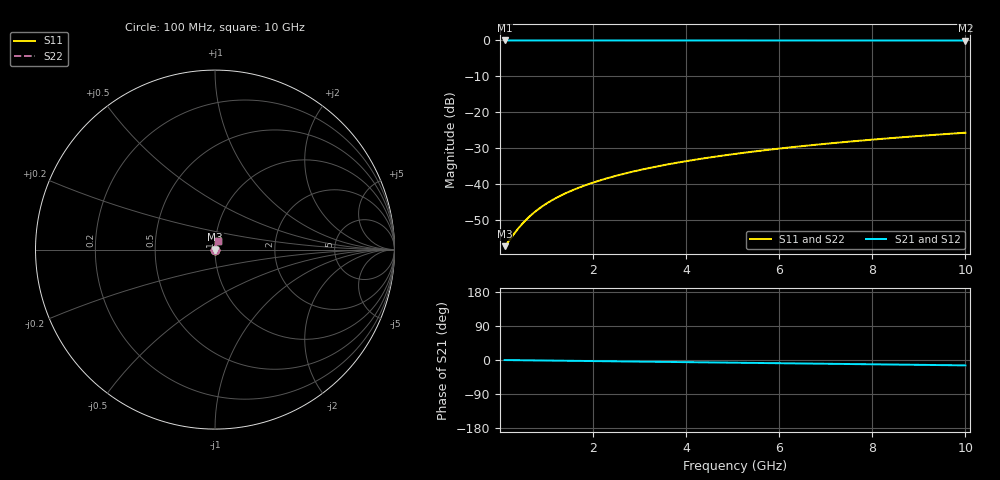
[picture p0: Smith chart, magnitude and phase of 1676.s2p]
# Hz S RI R 50.00
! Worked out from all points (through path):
!   100 points, 100 MHz to 10 GHz, reference 50 ohm
!   highest |S21| = -0.01 dB at 100 MHz (marker M1); lowest = 0.0 dB at 10 GHz (marker M2)
!   group delay of S21, straight-line fit = 3.94 ps
!   lowest |S11| = -57.2 dB at 100 MHz (marker M3), VSWR 1.00, Z = 50.1 + j0.0523 ohm
!   |S11| at or under -10 dB: start of sweep to end of sweep
!   |S22| runs from -57.2 to -25.6 dB; largest |S21 - S12| = 0
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1e8  0.00128 0.000522  0.9987 -0.00246  0.9987 -0.00246  0.00128 0.000522
2e8  0.00129 0.00104  0.9987 -0.00492  0.9987 -0.00492  0.00129 0.00104
4e8  0.00132 0.00209  0.9986 -0.00983  0.9986 -0.00983  0.00132 0.00209
5e8  0.00133 0.00261  0.9986 -0.0123  0.9986 -0.0123  0.00133 0.00261
6e8  0.00135 0.00313  0.9986 -0.0147  0.9986 -0.0147  0.00135 0.00313
7e8  0.00137 0.00365  0.9985 -0.0172  0.9985 -0.0172  0.00137 0.00365
8e8  0.00139 0.00417  0.9985 -0.0197  0.9985 -0.0197  0.00139 0.00417
1e9  0.00144 0.00521  0.9984 -0.0246  0.9984 -0.0246  0.00144 0.00521
1.2e9  0.0015 0.00625  0.9982 -0.0295  0.9982 -0.0295  0.0015 0.00625
1.5e9  0.00161 0.00781  0.9979 -0.0369  0.9979 -0.0369  0.00161 0.00781
1.8e9  0.00174 0.00937  0.9976 -0.0442  0.9976 -0.0442  0.00174 0.00937
2.1e9  0.00189 0.0109  0.9972 -0.0516  0.9972 -0.0516  0.00189 0.0109
2.5e9  0.00213 0.013  0.9966 -0.0614  0.9966 -0.0614  0.00213 0.013
2.9e9  0.00241 0.0151  0.9959 -0.0713  0.9959 -0.0713  0.00241 0.0151
3.4e9  0.00282 0.0176  0.9949 -0.0836  0.9949 -0.0836  0.00282 0.0176
4.2e9  0.00361 0.0217  0.993 -0.1032  0.993 -0.1032  0.00361 0.0217
5.1e9  0.00468 0.0263  0.9903 -0.1253  0.9903 -0.1253  0.00468 0.0263
5.9e9  0.00581 0.0303  0.9875 -0.1448  0.9875 -0.1448  0.00581 0.0303
6.7e9  0.0071 0.0343  0.9843 -0.1644  0.9843 -0.1644  0.0071 0.0343
7.5e9  0.00855 0.0383  0.9806 -0.1839  0.9806 -0.1839  0.00855 0.0383
8.4e9  0.0104 0.0426  0.9761 -0.2057  0.9761 -0.2057  0.0104 0.0426
1e10  0.0141 0.0502  0.9667 -0.2444  0.9667 -0.2444  0.0141 0.0502
